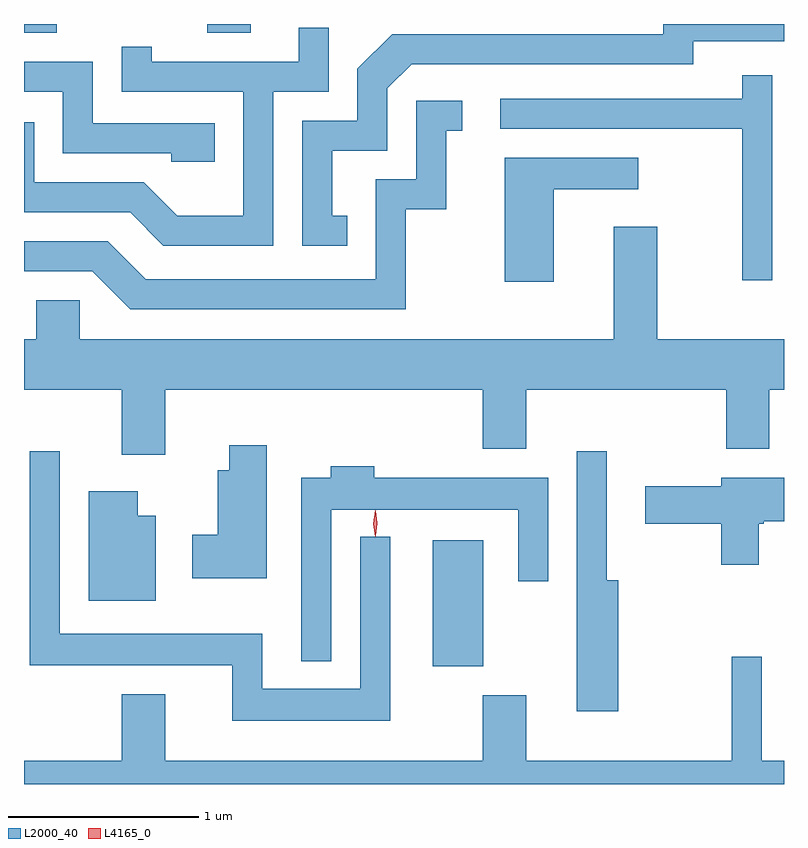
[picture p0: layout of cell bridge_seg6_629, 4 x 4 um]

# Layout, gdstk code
import gdstk
lib = gdstk.Library(unit=1e-6, precision=1e-09)
def R(c, l, rs):  # rectangles x0, y0, x1, y1
    for r in rs: c.add(gdstk.rectangle(r[:2], r[2:], *l))
def P(c, l, *ps):  # polygons
    for p in ps: c.add(gdstk.Polygon(p, *l))
L2000_40 = (2000, 40)
L4165_0 = (4165, 0)

bridge_seg6_629 = lib.new_cell('bridge_seg6_629')
R(bridge_seg6_629, L2000_40, [(310.346,1639.601,310.614,1640.264), (308.196,1642.936,308.369,1642.982), (309.161,1642.936,309.389,1642.982)])
P(bridge_seg6_629, L2000_40, [(309.898,1641.974),(309.819,1641.974),(309.819,1642.316),(310.109,1642.316),(310.109,1642.644),(310.237,1642.771),(311.719,1642.771),(311.719,1642.891),(312.196,1642.891),(312.196,1642.982),(311.561,1642.982),(311.561,1642.929),(310.134,1642.929),(309.951,1642.747),(309.951,1642.474),(309.661,1642.474),(309.661,1641.816),(309.898,1641.816)],
  [(309.509,1642.626),(309.799,1642.626),(309.799,1642.963),(309.641,1642.963),(309.641,1642.784),(308.869,1642.784),(308.869,1642.863),(308.711,1642.863),(308.711,1642.626),(309.351,1642.626),(309.351,1641.974),(309.002,1641.974),(308.827,1642.149),(308.249,1642.149),(308.249,1642.464),(308.196,1642.464),(308.196,1641.991),(308.754,1641.991),(308.929,1641.816),(309.509,1641.816)],
  [(309.199,1642.459),(308.559,1642.459),(308.559,1642.784),(308.196,1642.784),(308.196,1642.626),(308.401,1642.626),(308.401,1642.301),(308.971,1642.301),(308.971,1642.256),(309.199,1642.256)],
  [(312.134,1642.713),(311.976,1642.713),(311.976,1642.589),(310.703,1642.589),(310.703,1642.431),(311.976,1642.431),(311.976,1641.633),(312.134,1641.633)],
  [(310.204,1642.006),(310.419,1642.006),(310.419,1642.421),(310.503,1642.421),(310.503,1642.579),(310.261,1642.579),(310.261,1642.164),(310.046,1642.164),(310.046,1641.639),(308.837,1641.639),(308.637,1641.839),(308.196,1641.839),(308.196,1641.681),(308.554,1641.681),(308.754,1641.481),(310.204,1641.481)],
  [(310.984,1642.111),(311.428,1642.111),(311.428,1642.279),(310.726,1642.279),(310.726,1641.626),(310.984,1641.626)],
  [(311.301,1641.914),(311.301,1641.324),(308.489,1641.324),(308.489,1641.529),(308.261,1641.529),(308.261,1641.324),(308.196,1641.324),(308.196,1641.056),(308.711,1641.056),(308.711,1640.716),(308.939,1640.716),(308.939,1641.056),(310.611,1641.056),(310.611,1640.746),(310.839,1640.746),(310.839,1641.056),(311.891,1641.056),(311.891,1640.746),(312.119,1640.746),(312.119,1641.056),(312.196,1641.056),(312.196,1641.324),(311.529,1641.324),(311.529,1641.914)],
  [(309.474,1640.764),(309.276,1640.764),(309.276,1640.634),(309.216,1640.634),(309.216,1640.294),(309.081,1640.294),(309.081,1640.066),(309.474,1640.066)],
  [(311.324,1640.054),(311.264,1640.054),(311.264,1640.733),(311.106,1640.733),(311.106,1639.366),(311.324,1639.366)],
  [(310.124,1640.283),(309.966,1640.283),(309.966,1639.484),(309.449,1639.484),(309.449,1639.774),(308.384,1639.774),(308.384,1640.733),(308.226,1640.733),(308.226,1639.606),(309.291,1639.606),(309.291,1639.316),(310.124,1639.316)],
  [(309.814,1640.426),(310.796,1640.426),(310.796,1640.048),(310.954,1640.048),(310.954,1640.594),(310.039,1640.594),(310.039,1640.654),(309.811,1640.654),(309.811,1640.594),(309.656,1640.594),(309.656,1639.628),(309.814,1639.628)],
  [(312.064,1640.351),(312.09,1640.351),(312.09,1640.366),(312.196,1640.366),(312.196,1640.594),(311.866,1640.594),(311.866,1640.549),(311.466,1640.549),(311.466,1640.351),(311.866,1640.351),(311.866,1640.136),(312.064,1640.136)],
  [(308.889,1640.394),(308.794,1640.394),(308.794,1640.524),(308.536,1640.524),(308.536,1639.946),(308.889,1639.946)],
  [(312.196,1639.104),(312.079,1639.104),(312.079,1639.653),(311.921,1639.653),(311.921,1639.104),(310.839,1639.104),(310.839,1639.449),(310.611,1639.449),(310.611,1639.104),(308.939,1639.104),(308.939,1639.454),(308.711,1639.454),(308.711,1639.104),(308.196,1639.104),(308.196,1638.982),(312.196,1638.982)])
P(bridge_seg6_629, L4165_0, [(310.044,1640.284),(310.044,1640.284),(310.034,1640.353),(310.044,1640.423),(310.044,1640.423),(310.045,1640.423),(310.054,1640.353),(310.045,1640.284)],
  [(310.046,1640.287),(310.045,1640.288),(310.036,1640.354),(310.045,1640.42),(310.046,1640.421),(310.046,1640.42),(310.056,1640.354),(310.046,1640.288)])

lib.write_gds('bridge_seg6_629.gds')
